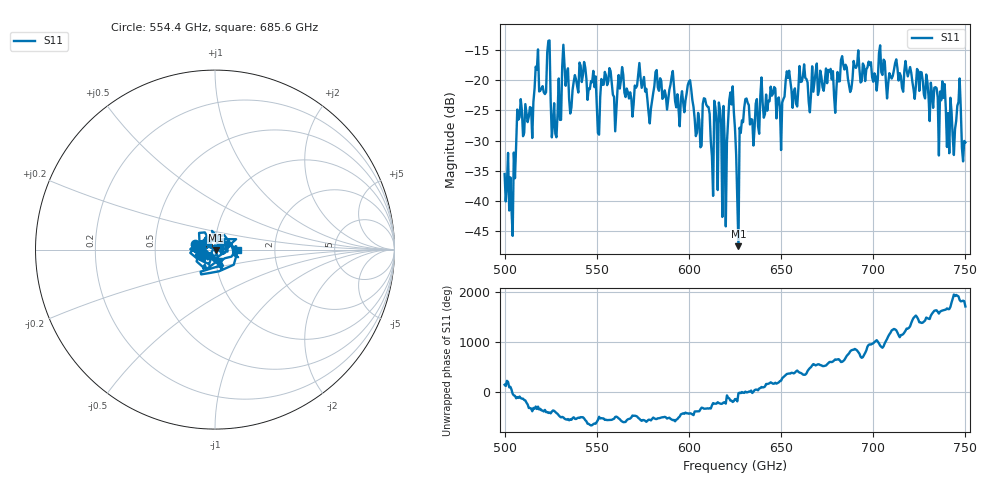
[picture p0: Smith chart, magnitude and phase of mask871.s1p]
!Created with skrf (http://scikit-rf.org).
# GHz S MA R 50.0
!freq magS11 angS11
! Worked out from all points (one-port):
!   401 points, 500 GHz to 750 GHz, reference 50 ohm
!   lowest |S11| = -47.5 dB at 626.9 GHz (marker M1), VSWR 1.01, Z = 50.4 - j0.177 ohm
!   |S11| at or under -10 dB: start of sweep to end of sweep
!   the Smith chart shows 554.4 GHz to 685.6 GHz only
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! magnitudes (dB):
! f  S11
! 500 GHz  -35.5
! 503.8 GHz  -41.5
! 508.1 GHz  -26.1
! 513.8 GHz  -24.4
! 517.5 GHz  -18.2
! 523.8 GHz  -13.5
! 526.9 GHz  -23.8
! 531.2 GHz  -17.7
! 541.9 GHz  -20.3
! 551.2 GHz  -29.0
! 562.5 GHz  -21.4
! 593.8 GHz  -22.3
! 600 GHz  -20.2
! 605.6 GHz  -26.6
! 609.4 GHz  -24.0
! 619.4 GHz  -30.0
! 622.5 GHz  -22.0
! 625 GHz  -28.0
! 626.9 GHz  -47.5
! 631.2 GHz  -23.0
! 634.4 GHz  -26.5
! 656.2 GHz  -24.6
! 687.5 GHz  -22.0
! 718.8 GHz  -19.4
! 737.5 GHz  -20.2
! 742.5 GHz  -25.3
! 746.2 GHz  -23.6
! 750 GHz  -30.3
